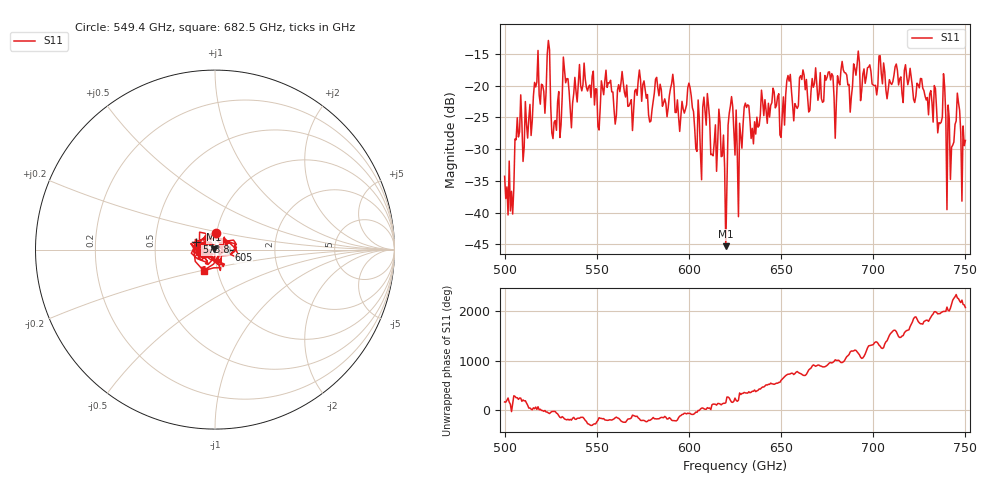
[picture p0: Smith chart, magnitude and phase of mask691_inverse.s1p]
!Created with skrf (http://scikit-rf.org).
# GHz S MA R 50.0
!freq magS11 angS11
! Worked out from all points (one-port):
!   401 points, 500 GHz to 750 GHz, reference 50 ohm
!   lowest |S11| = -45.3 dB at 620 GHz (marker M1), VSWR 1.01, Z = 49.5 + j0.263 ohm
!   |S11| at or under -10 dB: start of sweep to end of sweep
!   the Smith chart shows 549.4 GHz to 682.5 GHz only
!   S11 on the Smith chart (normalised r, x): 549.4 GHz: 0.99, +0.19; 573.8 GHz: 0.81, +0.07; 605 GHz: 1.17, -0.01; 682.5 GHz: 0.86, -0.21
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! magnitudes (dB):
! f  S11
! 500 GHz  -34.3
! 503.1 GHz  -39.7
! 507.5 GHz  -28.1
! 513.8 GHz  -22.9
! 516.9 GHz  -20.2
! 523.8 GHz  -12.9
! 526.9 GHz  -25.7
! 531.2 GHz  -21.8
! 549.4 GHz  -20.5
! 562.5 GHz  -20.9
! 573.8 GHz  -19.1
! 593.8 GHz  -22.2
! 600.6 GHz  -20.3
! 605 GHz  -22.2
! 609.4 GHz  -26.2
! 620 GHz  -45.3
! 622.5 GHz  -23.2
! 625 GHz  -30.9
! 627.5 GHz  -25.9
! 631.2 GHz  -23.4
! 656.2 GHz  -23.0
! 682.5 GHz  -17.5
! 687.5 GHz  -24.2
! 718.8 GHz  -19.8
! 738.1 GHz  -18.1
! 741.2 GHz  -25.2
! 745.6 GHz  -21.2
! 750 GHz  -28.6
